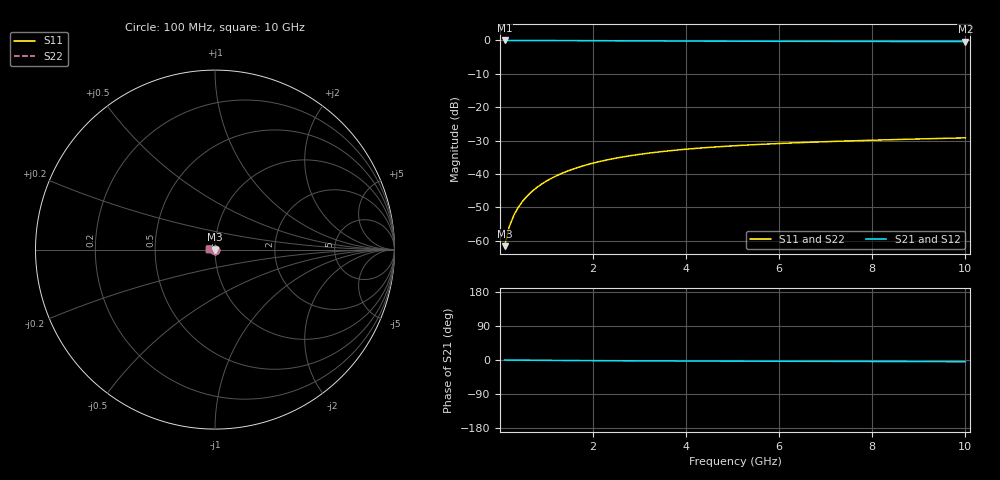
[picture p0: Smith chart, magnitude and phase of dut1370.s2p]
! Touchstone file exported from HFSS 2024.1.0
!  File:  C:/UserFiles/LocalFiles/RDL_TSV_Batchsim/temp_TSV1_1370_1780379025.aedt
!  Generated:  01:49:19 PM Jun  2, 2026
!  Design:  TSV1
!  Project:  temp_TSV1_1370_1780379025
!  Setup:  Setup1
!  Solution:  Sweep
! Variables:
!  dtsv = 7.42um
!  hbump = 3um
!  htsv = 68.45um
!  lrdl = 252.1521522um
!  p = 40
!  p1 = 41.94um
!  t = 500um
!  trdl = 3um
!  wrdl = 24.89489489um
# GHz S MA R 50.000000
! Terminal data exported
! Port[1] = TSV22_T1
! Port[2] = TSV22_T2
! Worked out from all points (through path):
!   100 points, 100 MHz to 10 GHz, reference 50 ohm
!   highest |S21| = 0.00 dB at 100 MHz (marker M1); lowest = -0.3 dB at 10 GHz (marker M2)
!   lowest |S11| = -61.6 dB at 100 MHz (marker M3), VSWR 1.00, Z = 50 - j0.0799 ohm
!   |S11| at or under -10 dB: start of sweep to end of sweep
!   |S22| runs from -61.6 to -29.2 dB; largest |S21 - S12| = 3.1e-15
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0.1  0.0008272 -74.8  0.9997 -0.1  0.9997 -0.1  0.0008272 -74.8
! Gamma 0 0 0 0
! Port Impedance 50 0 50 0
0.2  0.001619 -84.7  0.9996 -0.2  0.9996 -0.2  0.001619 -84.7
0.3  0.002416 -89.3  0.9995 -0.3  0.9995 -0.3  0.002416 -89.3
0.4  0.003211 -92.4  0.9993 -0.4  0.9993 -0.4  0.003211 -92.4
0.5  0.004001 -95.0  0.9991 -0.5  0.9991 -0.5  0.004001 -95.0
0.6  0.004784 -97.2  0.9989 -0.6  0.9989 -0.6  0.004784 -97.2
0.7  0.00556 -99.3  0.9986 -0.6  0.9986 -0.6  0.00556 -99.3
0.8  0.006326 -101.3  0.9982 -0.7  0.9982 -0.7  0.006326 -101.3
0.9  0.007083 -103.2  0.9978 -0.8  0.9978 -0.8  0.007083 -103.2
1.1  0.00856 -106.8  0.997 -1.0  0.997 -1.0  0.00856 -106.8
1.4  0.01068 -111.8  0.9954 -1.2  0.9954 -1.2  0.01068 -111.8
1.6  0.01202 -115.0  0.9943 -1.4  0.9943 -1.4  0.01202 -115.0
1.8  0.0133 -118.1  0.9931 -1.5  0.9931 -1.5  0.0133 -118.1
2.1  0.01509 -122.5  0.9912 -1.7  0.9912 -1.7  0.01509 -122.5
2.5  0.01727 -128.0  0.9887 -2.0  0.9887 -2.0  0.01727 -128.0
2.9  0.0192 -133.1  0.9861 -2.2  0.9861 -2.2  0.0192 -133.1
3.4  0.02132 -139.0  0.9831 -2.4  0.9831 -2.4  0.02132 -139.0
4.2  0.0241 -147.3  0.9788 -2.7  0.9788 -2.7  0.0241 -147.3
5.1  0.02658 -155.4  0.9748 -3.0  0.9748 -3.0  0.02658 -155.4
6.7  0.0299 -167.2  0.9694 -3.5  0.9694 -3.5  0.0299 -167.2
8.4  0.03259 -177.3  0.9656 -4.0  0.9656 -4.0  0.03259 -177.3
10  0.03474 174.7  0.963 -4.5  0.963 -4.5  0.03474 174.7
